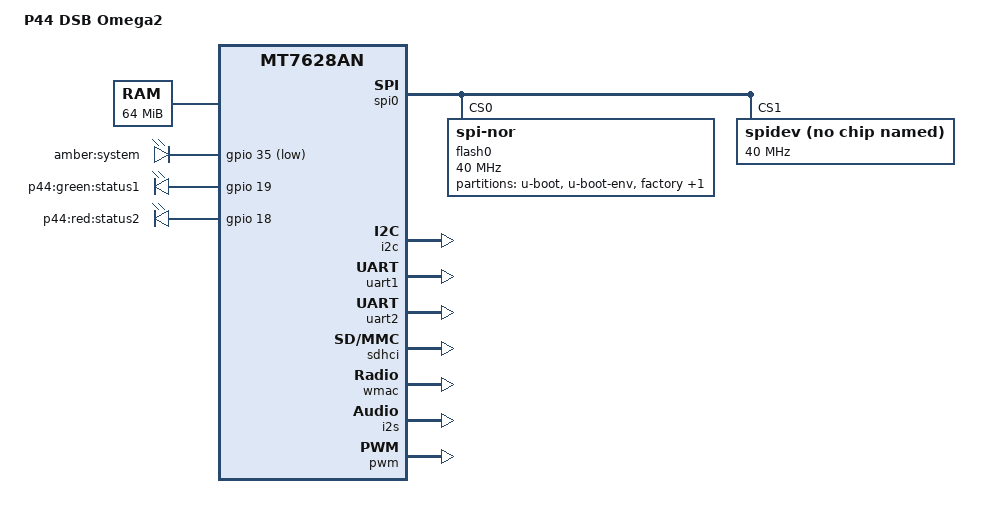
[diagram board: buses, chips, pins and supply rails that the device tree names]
#include "mt7628an.dtsi"

#include <dt-bindings/gpio/gpio.h>
#include <dt-bindings/interrupt-controller/irq.h>
#include <dt-bindings/input/input.h>

/ {
	compatible = "plan44,p44dsbomega2", "onion,omega2p", "onion,omega2", "mediatek,mt7628an-soc";
	model = "P44 DSB Omega2";

	aliases {
		led-boot = &led_system;
		led-failsafe = &led_system;
		led-running = &led_system;
		led-upgrade = &led_system;
	};

	chosen {
		bootargs = "console=ttyS0,115200";
	};

	memory@0 {
		device_type = "memory";
		reg = <0x0 0x4000000>;
	};

	leds {
		compatible = "gpio-leds";

		led_system: system {
			label = "amber:system";
			/* GPIO 44 is system LED on Omega2, but unused. But it's on P44 expansion connector and we want to use it! */
			/* gpios = <&gpio 44 GPIO_ACTIVE_LOW>; */
			/* GPIO 35 is not exposed on Omega2 and Omega2S, we use it as a dummy output here */
			gpios = <&gpio 35 GPIO_ACTIVE_LOW>;
			default-state = "on";
		};

		status1 {
			label = "p44:green:status1";
			gpios = <&gpio 19 GPIO_ACTIVE_HIGH>;
			default-state = "on";
		};

		status2 {
			label = "p44:red:status2";
			gpios = <&gpio 18 GPIO_ACTIVE_HIGH>;
			default-state = "on";
		};

	};

};

&gpio {
  /* prevent auto-numbering GPIOs, retain traditional 0-based GPIOs */
  /* (needs patch in gpio-mt7621.c to re-introduce the gpio-base property) */
  gpio-base = <0>;
};


&state_default {
	gpio {
		groups = "gpio";
		function = "gpio";
	};

	perst {
		groups = "perst";
		function = "gpio";
	};

	refclk {
		groups = "refclk";
		function = "gpio";
	};

	i2s {
		groups = "i2s";
		function = "gpio";
	};

	spis {
		groups = "spis";
		function = "gpio";
	};

	wled_kn {
		groups = "wled_kn";
		function = "gpio";
	};

	wled_an {
		groups = "wled_an";
		function = "gpio";
	};

	wdt {
		groups = "wdt";
		function = "gpio";
	};

	pwm0 {
		groups = "pwm0";
		function = "gpio";
	};

	pwm1 {
		groups = "pwm1";
		function = "gpio";
	};
};

&spi0 {
	status = "okay";

	pinctrl-names = "default";
	pinctrl-0 = <&spi_pins>, <&spi_cs1_pins>;

	flash0: flash@0 {
		compatible = "jedec,spi-nor";
		reg = <0>;
		spi-max-frequency = <40000000>;
		broken-flash-reset;

		partitions {
			compatible = "fixed-partitions";
			#address-cells = <1>;
			#size-cells = <1>;

			partition@0 {
				label = "u-boot";
				reg = <0x0 0x30000>;
				read-only;
			};

			partition@30000 {
				label = "u-boot-env";
				reg = <0x30000 0x10000>;
				/* we need a linux writable uboot environment, so WE DONT WANT A read-only HERE! */
			};

			factory: partition@40000 {
				label = "factory";
				reg = <0x40000 0x10000>;
				read-only;
			};

			firmware: partition@50000 {
				compatible = "denx,uimage";
				label = "firmware";
				reg = <0x50000 0xfb0000>;
			};
		};
	};

	spidev@1 {
		#address-cells = <1>;
		#size-cells = <1>;
		compatible = "linux,spidev";
		reg = <1>;
		spi-max-frequency = <40000000>;
	};
};

&i2c {
	status = "okay";
};

&uart1 {
	status = "okay";
};

&uart2 {
	status = "okay";
};

&ethernet {
	nvmem-cells = <&macaddr_factory_28>;
	nvmem-cell-names = "mac-address";
};

&sdhci {
	status = "okay";
	mediatek,cd-low;
};

&wmac {
	status = "okay";

	mediatek,mtd-eeprom = <&factory 0x0>;
};

&factory {
	compatible = "nvmem-cells";
	#address-cells = <1>;
	#size-cells = <1>;

	macaddr_factory_28: macaddr@28 {
		reg = <0x28 0x6>;
	};
};

&gdma {
	status = "okay";
};

&i2s {
	status = "okay";
};

&pwm {
	status = "okay";
};
